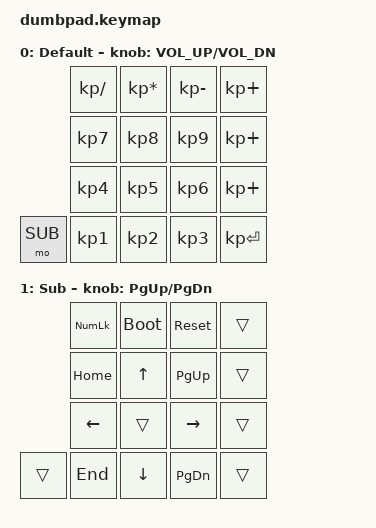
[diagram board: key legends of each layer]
/*
 * Copyright (c) 2024
 * SPDX-License-Identifier: MIT
 */

#include <behaviors.dtsi>
#include <dt-bindings/zmk/keys.h>
#include <dt-bindings/zmk/bt.h>

#define DEFAULT 0
#define SUB     1

/ {
    keymap {
        compatible = "zmk,keymap";

        default_layer {
            label = "Default";
            // Default QMK dumbpad layout (numpad)
            // Layout:
            // | ENC | /  | *  | -  |
            // |  7  | 8  | 9  | +  |
            // |  4  | 5  | 6  | +  |
            // | FN  | 1  | 2  | 3  | ENT|
            
            bindings = <
                        &kp KP_SLASH &kp KP_MULTIPLY &kp KP_MINUS  &kp KP_PLUS
                        &kp KP_N7    &kp KP_N8       &kp KP_N9     &kp KP_PLUS
                        &kp KP_N4    &kp KP_N5       &kp KP_N6     &kp KP_PLUS
                &mo SUB &kp KP_N1    &kp KP_N2       &kp KP_N3     &kp KP_ENTER
            >;
            
            sensor-bindings = <&inc_dec_kp C_VOL_UP C_VOL_DN>;
        };

        sub_layer {
            label = "Sub";
            // Function layer with RGB, media controls, and system functions
            bindings = <
                        &kp KP_NUMLOCK &bootloader  &sys_reset   &trans
                        &kp HOME       &kp UP       &kp PG_UP    &trans
                        &kp LEFT       &trans       &kp RIGHT    &trans
                &trans  &kp END        &kp DOWN     &kp PG_DN    &trans
            >;
            
            sensor-bindings = <&inc_dec_kp PG_UP PG_DN>;
        };
    };
};
